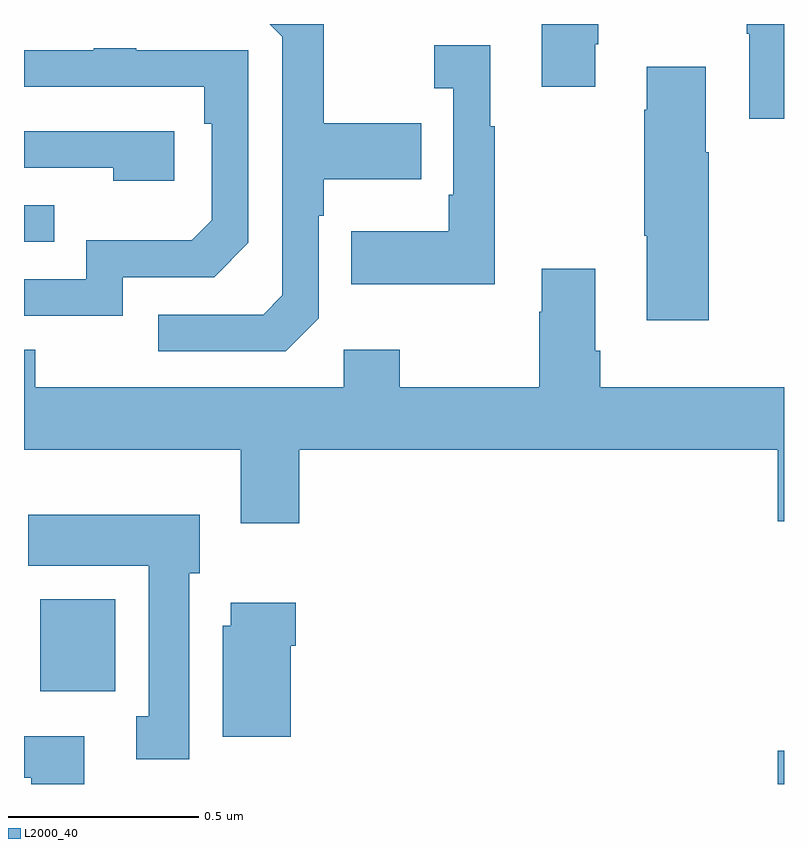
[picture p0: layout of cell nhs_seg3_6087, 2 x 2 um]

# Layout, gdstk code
import gdstk
lib = gdstk.Library(unit=1e-6, precision=1e-09)
def R(c, l, rs):  # rectangles x0, y0, x1, y1
    for r in rs: c.add(gdstk.rectangle(r[:2], r[2:], *l))
def P(c, l, *ps):  # polygons
    for p in ps: c.add(gdstk.Polygon(p, *l))
L2000_40 = (2000, 40)

nhs_seg3_6087 = lib.new_cell('nhs_seg3_6087')
R(nhs_seg3_6087, L2000_40, [(188.984,669.4,189,669.487), (187.043,669.644,187.24,669.886), (187,670.827,187.079,670.923)])
P(nhs_seg3_6087, L2000_40, [(189,671.4),(188.902,671.4),(188.902,671.374),(188.909,671.374),(188.909,671.151),(189,671.151)],
  [(188.503,671.347),(188.511,671.347),(188.511,671.4),(188.363,671.4),(188.363,671.235),(188.503,671.235)],
  [(187.776,670.626),(187.776,670.895),(187.789,670.895),(187.789,670.991),(188.045,670.991),(188.045,671.139),(187.789,671.139),(187.789,671.4),(187.647,671.4),(187.68,671.367),(187.68,670.686),(187.629,670.635),(187.353,670.635),(187.353,670.539),(187.689,670.539)],
  [(188.239,671.131),(188.227,671.131),(188.227,671.344),(188.079,671.344),(188.079,671.231),(188.13,671.231),(188.13,670.951),(188.118,670.951),(188.118,670.855),(187.861,670.855),(187.861,670.715),(188.239,670.715)],
  [(187.26,670.734),(187.5,670.734),(187.59,670.824),(187.59,671.331),(187.295,671.331),(187.295,671.336),(187.183,671.336),(187.183,671.331),(187,671.331),(187,671.235),(187.474,671.235),(187.474,671.138),(187.494,671.138),(187.494,670.884),(187.441,670.831),(187.164,670.831),(187.164,670.728),(187,670.728),(187,670.632),(187.26,670.632)],
  [(188.802,671.063),(188.794,671.063),(188.794,671.287),(188.639,671.287),(188.639,671.174),(188.632,671.174),(188.632,670.843),(188.639,670.843),(188.639,670.62),(188.802,670.62)],
  [(187.396,671.118),(187,671.118),(187,671.022),(187.235,671.022),(187.235,670.988),(187.396,670.988)],
  [(187.724,670.28),(188.984,670.28),(188.984,670.092),(189,670.092),(189,670.444),(188.516,670.444),(188.516,670.54),(188.503,670.54),(188.503,670.756),(188.363,670.756),(188.363,670.643),(188.356,670.643),(188.356,670.444),(187.989,670.444),(187.989,670.543),(187.842,670.543),(187.842,670.444),(187.029,670.444),(187.029,670.543),(187,670.543),(187,670.28),(187.571,670.28),(187.571,670.086),(187.724,670.086)],
  [(187.435,669.954),(187.462,669.954),(187.462,670.108),(187.011,670.108),(187.011,669.974),(187.328,669.974),(187.328,669.578),(187.295,669.578),(187.295,669.465),(187.435,669.465)],
  [(187.702,669.764),(187.715,669.764),(187.715,669.877),(187.544,669.877),(187.544,669.816),(187.523,669.816),(187.523,669.524),(187.702,669.524)],
  [(187.159,669.526),(187,669.526),(187,669.417),(187.019,669.417),(187.019,669.4),(187.159,669.4)])

lib.write_gds('nhs_seg3_6087.gds')
